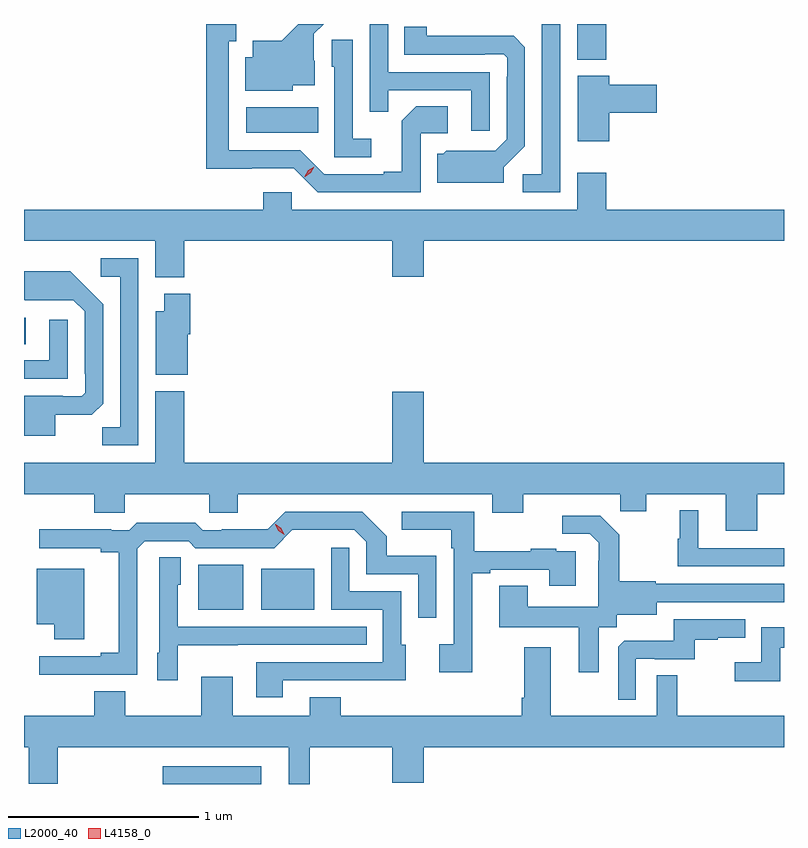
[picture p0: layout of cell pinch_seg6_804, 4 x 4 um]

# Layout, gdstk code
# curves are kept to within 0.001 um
import gdstk
lib = gdstk.Library(unit=1e-6, precision=1e-09)
def R(c, l, rs):  # rectangles x0, y0, x1, y1
    for r in rs: c.add(gdstk.rectangle(r[:2], r[2:], *l))
def P(c, l, *ps):  # polygons
    for p in ps: c.add(gdstk.Polygon(p, *l))
L2000_40 = (2000, 40)
L4158_0 = (4158, 0)

pinch_seg6_804 = lib.new_cell('pinch_seg6_804')
R(pinch_seg6_804, L2000_40, [(139.824,979.11,140.341,979.204), (140.009,980.027,140.248,980.263), (140.342,980.027,140.62,980.242), (139.093,981.424,139.102,981.564), (140.262,982.538,140.642,982.672), (142.004,982.922,142.157,983.11)])
P(pinch_seg6_804, L2000_40, [(141.18,982.536),(141.322,982.536),(141.322,982.676),(141.157,982.676),(141.081,982.6),(141.081,982.333),(140.987,982.333),(140.987,982.32),(140.673,982.32),(140.547,982.446),(140.17,982.446),(140.17,983.019),(140.209,983.019),(140.209,983.11),(140.052,983.11),(140.052,982.349),(140.514,982.35),(140.64,982.224),(141.18,982.224)],
  [(141.915,983.11),(141.819,983.11),(141.819,982.32),(141.717,982.32),(141.717,982.224),(141.915,982.224)],
  [(141.543,982.857),(141.009,982.857),(141.009,983.11),(140.913,983.11),(140.913,982.648),(141.011,982.648),(141.011,982.761),(141.447,982.761),(141.447,982.548),(141.543,982.548)],
  [(140.508,982.787),(140.623,982.787),(140.623,982.916),(140.619,982.916),(140.619,983.058),(140.671,983.11),(140.537,983.11),(140.449,983.023),(140.297,983.023),(140.297,982.936),(140.258,982.936),(140.258,982.76),(140.508,982.76)],
  [(141.619,982.356),(141.729,982.466),(141.729,982.988),(141.67,983.047),(141.213,983.048),(141.213,983.095),(141.094,983.095),(141.094,982.947),(141.518,982.947),(141.518,982.95),(141.618,982.95),(141.636,982.932),(141.636,982.832),(141.633,982.832),(141.633,982.503),(141.573,982.443),(141.316,982.444),(141.3,982.428),(141.269,982.428),(141.269,982.274),(141.619,982.274)],
  [(140.92,982.507),(140.823,982.507),(140.823,983.027),(140.712,983.027),(140.712,982.884),(140.727,982.884),(140.727,982.41),(140.92,982.41)],
  [(142.174,982.643),(142.423,982.643),(142.423,982.79),(142.174,982.79),(142.174,982.837),(142.007,982.837),(142.007,982.494),(142.174,982.494)],
  [(139.937,981.968),(141.032,981.968),(141.032,981.78),(141.196,981.78),(141.196,981.968),(143.093,981.968),(143.093,982.132),(142.157,982.132),(142.157,982.327),(142.004,982.327),(142.004,982.132),(140.502,982.132),(140.502,982.225),(140.351,982.225),(140.351,982.132),(139.093,982.132),(139.093,981.968),(139.784,981.968),(139.784,981.776),(139.937,981.776)],
  [(139.695,981.876),(139.497,981.876),(139.497,981.78),(139.599,981.78),(139.599,980.987),(139.504,980.987),(139.504,980.892),(139.695,980.892)],
  [(139.258,981.053),(139.45,981.053),(139.509,981.112),(139.509,981.634),(139.337,981.808),(139.093,981.808),(139.093,981.659),(139.096,981.656),(139.353,981.657),(139.413,981.597),(139.413,981.268),(139.416,981.268),(139.416,981.168),(139.398,981.15),(139.298,981.15),(139.298,981.154),(139.093,981.154),(139.093,980.942),(139.258,980.942)],
  [(139.954,981.477),(139.967,981.477),(139.967,981.691),(139.832,981.691),(139.832,981.598),(139.787,981.598),(139.787,981.263),(139.954,981.263)],
  [(139.323,981.553),(139.227,981.553),(139.227,981.339),(139.093,981.339),(139.093,981.243),(139.323,981.243)],
  [(142.951,980.636),(143.093,980.636),(143.093,980.8),(141.196,980.8),(141.196,981.175),(141.032,981.175),(141.032,980.8),(139.937,980.8),(139.937,981.178),(139.784,981.178),(139.784,980.8),(139.093,980.8),(139.093,980.636),(139.463,980.636),(139.463,980.538),(139.623,980.538),(139.623,980.636),(140.068,980.636),(140.068,980.538),(140.218,980.538),(140.218,980.636),(141.557,980.636),(141.557,980.537),(141.721,980.537),(141.721,980.636),(142.231,980.636),(142.231,980.546),(142.369,980.546),(142.369,980.636),(142.787,980.636),(142.787,980.442),(142.951,980.442)],
  [(143.093,980.352),(142.642,980.352),(142.642,980.551),(142.544,980.551),(142.544,980.4),(142.533,980.4),(142.533,980.256),(143.093,980.256)],
  [(141.451,980.22),(141.547,980.22),(141.547,980.238),(141.857,980.238),(141.857,980.154),(141.997,980.154),(141.997,980.334),(141.893,980.334),(141.893,980.347),(141.761,980.347),(141.761,980.336),(141.463,980.336),(141.463,980.544),(141.081,980.544),(141.081,980.447),(141.342,980.447),(141.342,980.351),(141.354,980.351),(141.354,979.846),(141.279,979.846),(141.279,979.698),(141.451,979.698)],
  [(139.689,980.349),(139.728,980.388),(139.959,980.388),(139.995,980.352),(140.409,980.352),(140.504,980.447),(140.832,980.448),(140.895,980.385),(140.895,980.214),(141.168,980.214),(141.168,979.986),(141.264,979.986),(141.264,980.311),(141.003,980.311),(141.003,980.414),(140.872,980.544),(140.469,980.544),(140.375,980.45),(140.134,980.45),(140.134,980.445),(140.034,980.445),(139.995,980.485),(139.687,980.485),(139.647,980.445),(139.553,980.445),(139.553,980.45),(139.173,980.45),(139.173,980.352),(139.496,980.352),(139.496,980.33),(139.592,980.33),(139.592,979.802),(139.496,979.802),(139.496,979.782),(139.173,979.782),(139.173,979.686),(139.689,979.686)],
  [(142.117,979.936),(142.212,979.936),(142.212,980),(142.423,980),(142.423,980.067),(143.093,980.066),(143.093,980.163),(142.419,980.163),(142.419,980.176),(142.227,980.176),(142.227,980.421),(142.127,980.521),(141.927,980.521),(141.927,980.427),(142.071,980.427),(142.118,980.38),(142.118,980.285),(142.116,980.285),(142.116,980.044),(141.745,980.044),(141.745,980.153),(141.593,980.153),(141.593,979.934),(142.013,979.934),(142.013,979.698),(142.117,979.698)],
  [(140.455,979.656),(140.885,979.656),(140.885,979.655),(141.103,979.655),(141.103,979.842),(141.078,979.842),(141.078,980.124),(140.805,980.124),(140.805,980.353),(140.709,980.353),(140.709,980.028),(140.982,980.028),(140.982,979.752),(140.315,979.752),(140.315,979.566),(140.455,979.566)],
  [(139.902,979.841),(140.219,979.841),(140.219,979.842),(140.897,979.842),(140.897,979.938),(139.902,979.938),(139.902,980.16),(139.918,980.16),(139.918,980.303),(139.806,980.303),(139.806,979.8),(139.793,979.8),(139.793,979.656),(139.902,979.656)],
  [(139.411,980.242),(139.16,980.242),(139.16,979.952),(139.253,979.952),(139.253,979.872),(139.411,979.872)],
  [(142.314,979.77),(142.414,979.77),(142.414,979.767),(142.622,979.767),(142.622,979.869),(142.745,979.869),(142.745,979.88),(142.889,979.88),(142.889,979.977),(142.512,979.977),(142.512,979.865),(142.253,979.865),(142.221,979.833),(142.221,979.553),(142.314,979.553)],
  [(143.073,979.827),(143.093,979.827),(143.093,979.935),(142.974,979.935),(142.974,979.75),(142.833,979.75),(142.833,979.652),(143.073,979.652)],
  [(140.596,979.304),(141.032,979.304),(141.032,979.116),(141.196,979.116),(141.196,979.304),(143.093,979.304),(143.093,979.468),(142.531,979.468),(142.531,979.682),(142.422,979.682),(142.422,979.468),(141.865,979.468),(141.865,979.831),(141.725,979.831),(141.725,979.564),(141.713,979.564),(141.713,979.468),(140.761,979.468),(140.761,979.567),(140.597,979.567),(140.597,979.468),(140.191,979.468),(140.191,979.675),(140.027,979.675),(140.027,979.468),(139.627,979.468),(139.627,979.597),(139.463,979.597),(139.463,979.468),(139.093,979.468),(139.093,979.304),(139.118,979.304),(139.118,979.112),(139.271,979.112),(139.271,979.304),(140.486,979.304),(140.486,979.11),(140.596,979.11)])
P(pinch_seg6_804, L4158_0, [(140.463,980.422),(140.432,980.444),(140.416,980.477),(140.416,980.478),(140.417,980.478),(140.448,980.457),(140.463,980.423),(140.463,980.422)],
  [(140.571,982.307),(140.571,982.308),(140.588,982.34),(140.62,982.359),(140.62,982.359),(140.62,982.359),(140.603,982.326),(140.572,982.307)])

lib.write_gds('pinch_seg6_804.gds')
